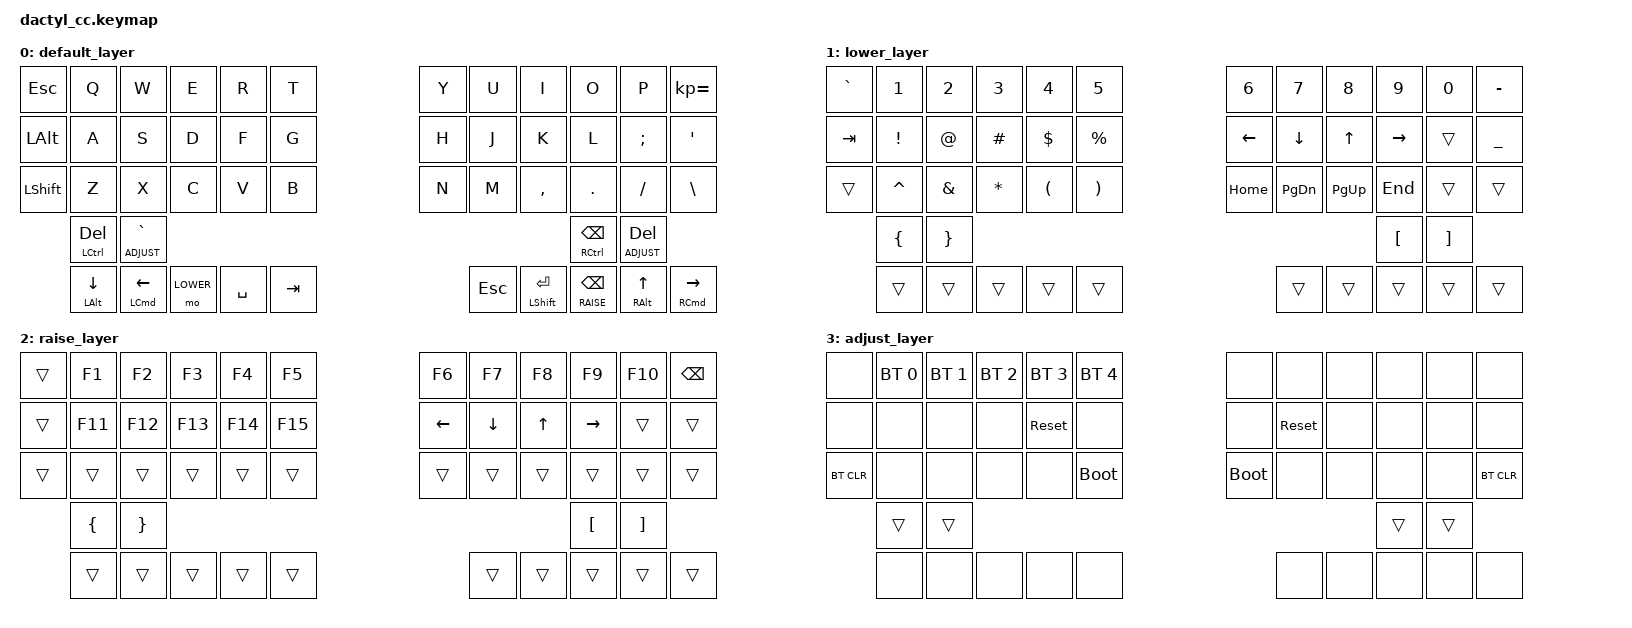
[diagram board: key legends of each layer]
#include <behaviors.dtsi>
#include <dt-bindings/zmk/keys.h>
#include <dt-bindings/zmk/bt.h>
#include <dt-bindings/zmk/outputs.h>

#define DEFAULT 0
#define LOWER   1
#define RAISE   2 
#define ADJUST  3

#define HYPER(key) LS(LC(LA(LG(key))))
#define MEH(key)   LS(LC(LA(key)))

&sl {
    release-after-ms = <5000>;
};


&kscan0 {
    debounce-press-ms = <30>;
    debounce-release-ms = <30>;
};

/ {
    keymap {
        compatible = "zmk,keymap";

        default_layer {
            bindings = <
    &kp ESC   &kp Q     &kp W    &kp E     &kp R      &kp T                              &kp Y     &kp U     &kp I     &kp O     &kp P    &kp KP_EQUAL
    &kp LALT  &kp A     &kp S    &kp D     &kp F      &kp G                              &kp H     &kp J     &kp K     &kp L     &kp SEMI &kp SQT
    &kp LSHFT &kp Z     &kp X    &kp C     &kp V      &kp B                              &kp N     &kp M     &kp COMMA &kp DOT   &kp FSLH &kp BSLH
              &mt LCTRL DEL &lt ADJUST GRAVE                                                                   &mt RCTRL BSPC &lt ADJUST DEL
              &mt LALT DOWN &mt LCMD LEFT  &mo LOWER  &kp SPACE &kp TAB                  &kp ESC   &mt LSHFT ENTER &lt RAISE BSPC &mt RALT UP &mt RCMD RIGHT
            >;
        };

        lower_layer {
            bindings = <
    &kp GRAVE &kp N1     &kp N2   &kp N3    &kp N4     &kp N5                             &kp N6    &kp N7    &kp N8    &kp N9    &kp N0     &kp MINUS
    &kp TAB   &kp EXCL   &kp AT   &kp HASH  &kp DLLR   &kp PRCNT                          &kp LEFT  &kp DOWN  &kp UP    &kp RIGHT &trans     &kp UNDER
    &trans    &kp CARET  &kp AMPS &kp STAR  &kp LPAR   &kp RPAR                           &kp HOME  &kp PG_DN &kp PG_UP &kp END   &trans     &trans
              &kp LBRC &kp RBRC                                                                    &kp LBKT  &kp RBKT
              &trans &trans &trans &trans &trans                                        &trans    &trans    &trans    &trans   &trans
            >;
        };

        raise_layer {
            bindings = <
    &trans   &kp F1    &kp F2   &kp F3    &kp F4     &kp F5                             &kp F6    &kp F7    &kp F8    &kp F9    &kp F10    &kp BSPC
    &trans   &kp F11   &kp F12  &kp F13   &kp F14    &kp F15                            &kp LEFT  &kp DOWN  &kp UP    &kp RIGHT &trans     &trans
    &trans   &trans    &trans   &trans    &trans     &trans                             &trans    &trans    &trans    &trans    &trans     &trans
              &kp LBRC &kp RBRC                                                                    &kp LBKT  &kp RBKT
              &trans &trans &trans &trans &trans                                        &trans    &trans    &trans    &trans   &trans
            >;
        };

        adjust_layer {
            bindings = <
    &none       &bt BT_SEL 0 &bt BT_SEL 1 &bt BT_SEL 2 &bt BT_SEL 3   &bt BT_SEL 4         &none        &none       &none    &none    &none    &none
    &none       &none        &none        &none        &sys_reset     &none                &none        &sys_reset  &none    &none    &none    &none
    &bt BT_CLR  &none        &none        &none        &none          &bootloader          &bootloader  &none       &none    &none    &none    &bt BT_CLR
                &trans       &trans                                                                                 &trans   &trans
                &none        &none        &none        &none          &none                &none        &none       &none    &none   &none
            >;
        };

    };
};
